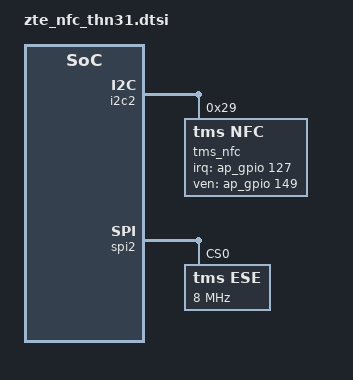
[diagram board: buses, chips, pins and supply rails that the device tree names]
&i2c2 {
	status = "okay";
        #address-cells = <1>;
        #size-cells = <0>;
        tms_nfc@29 {
                compatible = "tms,nfc";
		reg = <0x29>;
		tms,device-name = "tms_nfc";
		tms,device-count = <1>;
                tms,irq-gpio = <&ap_gpio 127 0>;
                tms,ven-gpio = <&ap_gpio 149 0>;
        };
};

&spi2 {
	status = "okay";

	ese@0 {
		status = "okay";
		compatible = "tms,ese";
		reg = <0>;
		spi-max-frequency = <8000000>;
		tms,device-name    = "tms_ese";
		tms,device-count   = <1>;
	};

};

&ump9622_pmic{
        refout@2080 {
                  compatible = "sprd,sc27xx-refout";
                  regsw = <0x2080>;
                  refnum = <3>;
        };
};
